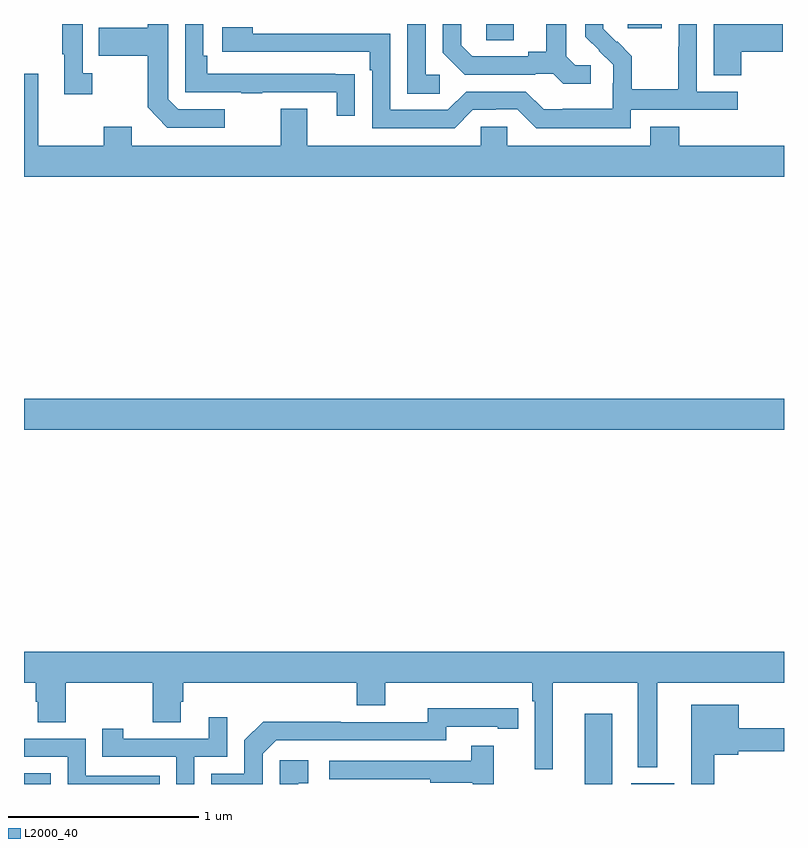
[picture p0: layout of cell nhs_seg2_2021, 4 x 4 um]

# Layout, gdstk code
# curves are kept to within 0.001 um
import gdstk
lib = gdstk.Library(unit=1e-6, precision=1e-09)
def R(c, l, rs):  # rectangles x0, y0, x1, y1
    for r in rs: c.add(gdstk.rectangle(r[:2], r[2:], *l))
def P(c, l, *ps):  # polygons
    for p in ps: c.add(gdstk.Polygon(p, *l))
L2000_40 = (2000, 40)

nhs_seg2_2021 = lib.new_cell('nhs_seg2_2021')
R(nhs_seg2_2021, L2000_40, [(217,617.8,217.14,617.857), (219.95,617.8,220.096,618.169), (220.196,617.8,220.423,617.803), (217,619.664,221,619.828), (219.432,621.715,219.577,621.8), (220.178,621.777,220.357,621.8)])
P(nhs_seg2_2021, L2000_40, [(217.36,621.542),(217.308,621.542),(217.308,621.8),(217.2,621.8),(217.2,621.641),(217.211,621.641),(217.211,621.429),(217.36,621.429)],
  [(218.741,621.536),(218.639,621.536),(218.639,621.537),(217.964,621.537),(217.964,621.634),(217.944,621.634),(217.944,621.8),(217.848,621.8),(217.848,621.441),(218.143,621.441),(218.143,621.436),(218.255,621.436),(218.255,621.441),(218.645,621.441),(218.645,621.318),(218.741,621.318)],
  [(219.982,621.582),(219.9,621.582),(219.853,621.629),(219.853,621.8),(219.749,621.8),(219.749,621.653),(219.653,621.653),(219.653,621.63),(219.358,621.63),(219.301,621.687),(219.301,621.8),(219.204,621.8),(219.204,621.65),(219.32,621.534),(219.692,621.534),(219.692,621.537),(219.786,621.537),(219.838,621.485),(219.982,621.485)],
  [(220.775,621.653),(220.993,621.653),(220.993,621.8),(220.631,621.8),(220.631,621.529),(220.775,621.529)],
  [(220.194,621.348),(220.756,621.348),(220.756,621.444),(220.542,621.444),(220.542,621.8),(220.446,621.8),(220.446,621.68),(220.444,621.68),(220.444,621.457),(220.199,621.457),(220.199,621.631),(220.122,621.708),(220.119,621.705),(220.049,621.776),(220.049,621.8),(219.954,621.8),(219.954,621.734),(220.1,621.586),(220.1,621.489),(220.098,621.489),(220.098,621.355),(219.835,621.355),(219.835,621.351),(219.735,621.351),(219.642,621.444),(219.327,621.444),(219.231,621.348),(218.928,621.348),(218.928,621.75),(218.204,621.75),(218.204,621.784),(218.043,621.784),(218.043,621.654),(218.819,621.654),(218.819,621.557),(218.832,621.557),(218.832,621.252),(219.267,621.252),(219.363,621.348),(219.482,621.348),(219.482,621.351),(219.597,621.351),(219.697,621.251),(220.194,621.251)],
  [(218.056,621.351),(217.812,621.351),(217.758,621.405),(217.758,621.8),(217.65,621.8),(217.65,621.781),(217.393,621.781),(217.393,621.634),(217.65,621.634),(217.65,621.361),(217.755,621.255),(218.056,621.255)],
  [(219.187,621.534),(219.114,621.534),(219.114,621.8),(219.018,621.8),(219.018,621.433),(219.187,621.433)],
  [(221,621.16),(220.448,621.16),(220.448,621.259),(220.295,621.259),(220.295,621.16),(219.543,621.16),(219.543,621.258),(219.405,621.258),(219.405,621.16),(218.491,621.16),(218.491,621.355),(218.351,621.355),(218.351,621.16),(217.567,621.16),(217.567,621.259),(217.42,621.259),(217.42,621.16),(217.075,621.16),(217.075,621.538),(217,621.538),(217,620.996),(221,620.996)],
  [(219.784,618.332),(220.229,618.332),(220.229,617.888),(220.333,617.888),(220.333,618.332),(221,618.332),(221,618.496),(217,618.496),(217,618.332),(217.061,618.332),(217.061,618.234),(217.073,618.234),(217.073,618.124),(217.221,618.124),(217.221,618.332),(217.678,618.332),(217.678,618.124),(217.825,618.124),(217.825,618.234),(217.838,618.234),(217.838,618.332),(218.75,618.332),(218.75,618.215),(218.902,618.215),(218.902,618.332),(219.674,618.332),(219.674,618.236),(219.687,618.236),(219.687,617.877),(219.784,617.877)],
  [(220.633,617.954),(220.758,617.954),(220.758,617.972),(221,617.972),(221,618.094),(220.762,618.094),(220.762,618.217),(220.511,618.217),(220.511,617.8),(220.633,617.8)],
  [(218.256,617.958),(218.328,618.03),(219.222,618.03),(219.222,618.102),(219.494,618.102),(219.494,618.09),(219.602,618.09),(219.602,618.198),(219.126,618.199),(219.126,618.126),(218.666,618.126),(218.666,618.128),(218.258,618.128),(218.16,618.03),(218.16,617.853),(217.986,617.853),(217.986,617.8),(218.256,617.8)],
  [(217.896,617.943),(218.07,617.943),(218.07,618.151),(217.973,618.151),(217.973,618.039),(217.522,618.039),(217.522,618.091),(217.411,618.091),(217.411,617.943),(217.8,617.943),(217.8,617.8),(217.896,617.8)],
  [(217.715,617.844),(217.326,617.844),(217.326,618.039),(217,618.039),(217,617.943),(217.23,617.943),(217.23,617.8),(217.715,617.8)],
  [(219.472,618.001),(219.355,618.001),(219.355,617.922),(218.607,617.922),(218.607,617.826),(219.139,617.826),(219.139,617.806),(219.363,617.806),(219.363,617.8),(219.472,617.8)],
  [(218.444,617.805),(218.497,617.805),(218.497,617.926),(218.346,617.926),(218.346,617.8),(218.444,617.8)])

lib.write_gds('nhs_seg2_2021.gds')
